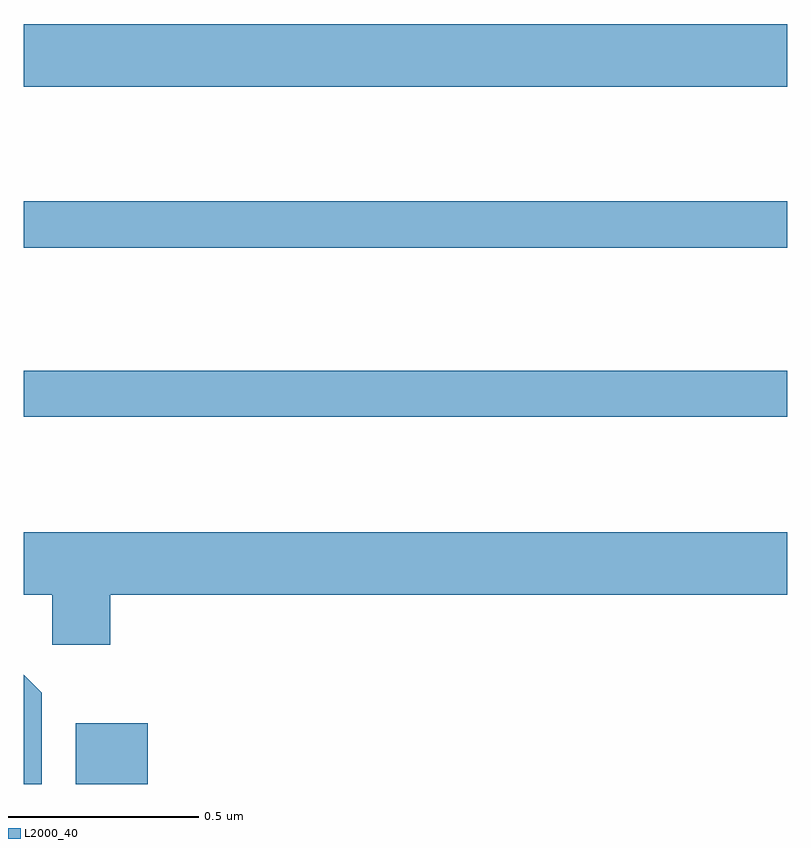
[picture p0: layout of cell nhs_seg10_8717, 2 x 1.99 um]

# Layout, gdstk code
import gdstk
lib = gdstk.Library(unit=1e-6, precision=1e-09)
def R(c, l, rs):  # rectangles x0, y0, x1, y1
    for r in rs: c.add(gdstk.rectangle(r[:2], r[2:], *l))
def P(c, l, *ps):  # polygons
    for p in ps: c.add(gdstk.Polygon(p, *l))
L2000_40 = (2000, 40)

nhs_seg10_8717 = lib.new_cell('nhs_seg10_8717')
R(nhs_seg10_8717, L2000_40, [(220.136,1286.5,220.324,1286.659), (220,1287.462,222,1287.583), (220,1287.906,222,1288.027), (220,1288.328,222,1288.492)])
P(nhs_seg10_8717, L2000_40, [(220.226,1286.996),(222,1286.996),(222,1287.16),(220,1287.16),(220,1286.996),(220.074,1286.996),(220.074,1286.865),(220.226,1286.865)],
  [(220.047,1286.739),(220,1286.786),(220,1286.5),(220.047,1286.5)])

lib.write_gds('nhs_seg10_8717.gds')
